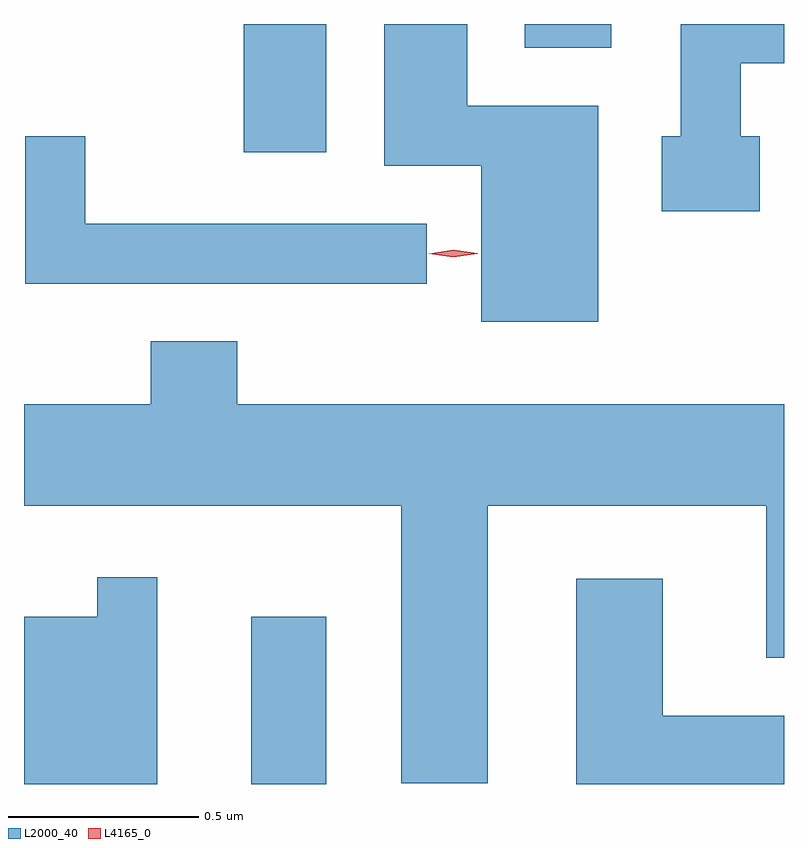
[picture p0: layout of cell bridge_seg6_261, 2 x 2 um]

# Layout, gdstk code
import gdstk
lib = gdstk.Library(unit=1e-6, precision=1e-09)
def R(c, l, rs):  # rectangles x0, y0, x1, y1
    for r in rs: c.add(gdstk.rectangle(r[:2], r[2:], *l))
def P(c, l, *ps):  # polygons
    for p in ps: c.add(gdstk.Polygon(p, *l))
L2000_40 = (2000, 40)
L4165_0 = (4165, 0)

bridge_seg6_261 = lib.new_cell('bridge_seg6_261')
R(bridge_seg6_261, L2000_40, [(1416.316,1589.264,1416.514,1589.704), (1416.296,1590.926,1416.514,1591.264), (1417.036,1591.201,1417.264,1591.264)])
P(bridge_seg6_261, L2000_40, [(1417.229,1591.049),(1416.884,1591.049),(1416.884,1591.264),(1416.666,1591.264),(1416.666,1590.891),(1416.921,1590.891),(1416.921,1590.481),(1417.229,1590.481)],
  [(1417.654,1590.969),(1417.604,1590.969),(1417.604,1591.161),(1417.718,1591.161),(1417.718,1591.264),(1417.446,1591.264),(1417.446,1590.969),(1417.396,1590.969),(1417.396,1590.771),(1417.654,1590.771)],
  [(1416.778,1590.739),(1415.879,1590.739),(1415.879,1590.968),(1415.721,1590.968),(1415.721,1590.581),(1416.778,1590.581)],
  [(1416.939,1589.996),(1417.671,1589.996),(1417.671,1589.596),(1417.718,1589.596),(1417.718,1590.264),(1416.279,1590.264),(1416.279,1590.429),(1416.051,1590.429),(1416.051,1590.264),(1415.718,1590.264),(1415.718,1589.996),(1416.711,1589.996),(1416.711,1589.266),(1416.939,1589.266)],
  [(1416.069,1589.808),(1415.911,1589.808),(1415.911,1589.704),(1415.718,1589.704),(1415.718,1589.264),(1416.069,1589.264)],
  [(1417.718,1589.444),(1417.399,1589.444),(1417.399,1589.804),(1417.171,1589.804),(1417.171,1589.264),(1417.718,1589.264)])
P(bridge_seg6_261, L4165_0, [(1416.848,1590.65),(1416.783,1590.659),(1416.782,1590.66),(1416.783,1590.66),(1416.847,1590.67),(1416.912,1590.661),(1416.912,1590.66),(1416.912,1590.66)])

lib.write_gds('bridge_seg6_261.gds')
